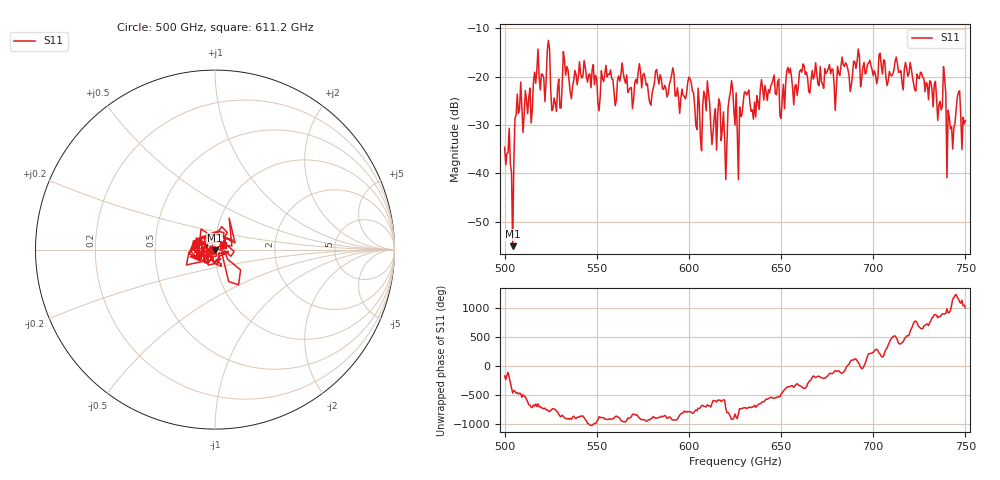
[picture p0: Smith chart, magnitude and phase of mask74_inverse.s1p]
!Created with skrf (http://scikit-rf.org).
# GHz S MA R 50.0
!freq magS11 angS11
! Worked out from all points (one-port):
!   401 points, 500 GHz to 750 GHz, reference 50 ohm
!   lowest |S11| = -55.1 dB at 504.4 GHz (marker M1), VSWR 1.00, Z = 49.9 - j0.168 ohm
!   |S11| at or under -10 dB: start of sweep to end of sweep
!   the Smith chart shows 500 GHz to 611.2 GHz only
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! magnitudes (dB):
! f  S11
! 500 GHz  -34.6
! 504.4 GHz  -55.1
! 507.5 GHz  -27.6
! 513.8 GHz  -22.4
! 523.8 GHz  -12.5
! 526.9 GHz  -24.4
! 531.2 GHz  -21.6
! 562.5 GHz  -21.0
! 579.4 GHz  -25.9
! 590.6 GHz  -19.7
! 593.8 GHz  -22.3
! 600.6 GHz  -20.5
! 605.6 GHz  -25.7
! 609.4 GHz  -27.1
! 619.4 GHz  -32.8
! 622.5 GHz  -23.2
! 625 GHz  -30.0
! 627.5 GHz  -26.3
! 631.2 GHz  -23.8
! 635 GHz  -28.8
! 656.2 GHz  -22.4
! 687.5 GHz  -23.1
! 718.8 GHz  -19.9
! 736.2 GHz  -25.1
! 738.1 GHz  -18.0
! 741.2 GHz  -28.4
! 746.2 GHz  -23.3
! 750 GHz  -29.1
